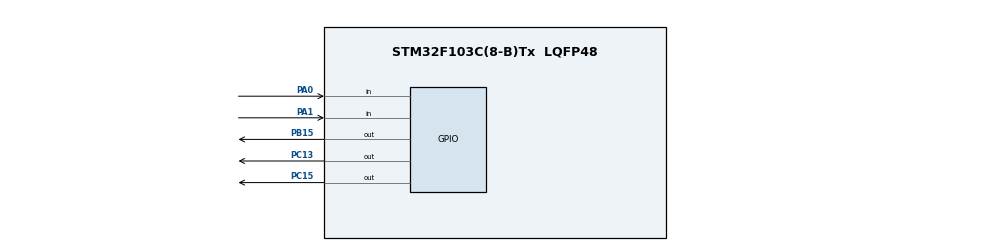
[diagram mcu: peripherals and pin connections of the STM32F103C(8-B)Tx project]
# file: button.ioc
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Mcu.Family=STM32F1
Mcu.Name=STM32F103C(8-B)Tx
Mcu.Package=LQFP48
NVIC.PriorityGroup=NVIC_PRIORITYGROUP_4
PA0-WKUP.GPIO_PuPd=GPIO_PULLUP
PA0-WKUP.Signal=GPIO_Input
PA1.GPIO_PuPd=GPIO_PULLUP
PA1.Signal=GPIO_Input
PA13.Mode=Serial_Wire
PA13.Signal=SYS_JTMS-SWDIO
PA14.Mode=Serial_Wire
PA14.Signal=SYS_JTCK-SWCLK
PB15.Signal=GPIO_Output
PC13-TAMPER-RTC.PinState=GPIO_PIN_SET
PC13-TAMPER-RTC.Signal=GPIO_Output
PC15-OSC32_OUT.Signal=GPIO_Output
PD0-OSC_IN.Mode=HSE-External-Oscillator
PD0-OSC_IN.Signal=RCC_OSC_IN
PD1-OSC_OUT.Mode=HSE-External-Oscillator
PD1-OSC_OUT.Signal=RCC_OSC_OUT
ProjectManager.HeapSize=0x200
ProjectManager.StackSize=0x400
ProjectManager.TargetToolchain=Makefile
RCC.APB1Freq_Value=8000000
RCC.APB2Freq_Value=8000000
board=custom

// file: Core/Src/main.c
/* USER CODE BEGIN Header */
/**
  ******************************************************************************
  * @file           : main.c
  * @brief          : Main program body
  ******************************************************************************
  * @attention
  *
  * Copyright (c) 2023 STMicroelectronics.
  * All rights reserved.
  *
  * This software is licensed under terms that can be found in the LICENSE file
  * in the root directory of this software component.
  * If no LICENSE file comes with this software, it is provided AS-IS.
  *
  ******************************************************************************
  */
/* USER CODE END Header */
#include "main.h"
#include "Button.h"

/* USER CODE BEGIN PD */
Button_Typdef button1;
Button_Typdef button2;
/* USER CODE END PD */

void SystemClock_Config(void);
static void MX_GPIO_Init(void);
/* USER CODE BEGIN PFP */
volatile uint32_t time_led1=0;
volatile uint32_t time_led2=0;
volatile uint32_t set_time_led1=200;
volatile uint32_t set_time_led2=500;
volatile uint8_t count_blink=0;

/* USER CODE END PFP */

/* USER CODE BEGIN 0 */

void btn_pressing_callback(Button_Typdef *ButtonX)
{
  if(ButtonX == &button1)
  {
    set_time_led1=500;
    set_time_led2=200;
  }
  if(ButtonX == &button2)
  {
    set_time_led1=100;
    set_time_led2=100;
  }
}
void btn_press_timeout_callback(Button_Typdef *ButtonX)
{
  if(ButtonX == &button2)
  {
    set_time_led1=1000;
    set_time_led2=1000;
  }
}
/* USER CODE END 0 */

int main(void)
{

  /* MCU Configuration--------------------------------------------------------*/

  /* Reset of all peripherals, Initializes the Flash interface and the Systick. */
  HAL_Init();

  /* Configure the system clock */
  SystemClock_Config();

  /* Initialize all configured peripherals */
  MX_GPIO_Init();
  /* USER CODE BEGIN 2 */
  button_init(&button1,GPIOA,GPIO_PIN_1);
  button_init(&button2,GPIOA,GPIO_PIN_0);
  /* USER CODE END 2 */

  /* Infinite loop */
  while (1)
  {

    /* USER CODE BEGIN 3 */
    button_handle(&button1);
    button_handle(&button2);

    if(HAL_GetTick()-time_led1 >= set_time_led1)
    {
      HAL_GPIO_TogglePin(GPIOC,GPIO_PIN_15);
      time_led1=HAL_GetTick();
    }
    if(HAL_GetTick()-time_led2 >= set_time_led2)
    {
      HAL_GPIO_TogglePin(GPIOB,GPIO_PIN_15);
      time_led2=HAL_GetTick();
    }
    // HAL_GPIO_TogglePin(GPIOC,GPIO_PIN_15);
    // HAL_Delay(500);
  }
  /* USER CODE END 3 */
}

void SystemClock_Config(void)
{
  RCC_OscInitTypeDef RCC_OscInitStruct = {0};
  RCC_ClkInitTypeDef RCC_ClkInitStruct = {0};

  /** Initializes the RCC Oscillators according to the specified parameters
  * in the RCC_OscInitTypeDef structure.
  */
  RCC_OscInitStruct.OscillatorType = RCC_OSCILLATORTYPE_HSI;
  RCC_OscInitStruct.HSIState = RCC_HSI_ON;
  RCC_OscInitStruct.HSICalibrationValue = RCC_HSICALIBRATION_DEFAULT;
  RCC_OscInitStruct.PLL.PLLState = RCC_PLL_NONE;
  if (HAL_RCC_OscConfig(&RCC_OscInitStruct) != HAL_OK)
  {
    Error_Handler();
  }

  /** Initializes the CPU, AHB and APB buses clocks
  */
  RCC_ClkInitStruct.ClockType = RCC_CLOCKTYPE_HCLK|RCC_CLOCKTYPE_SYSCLK
                              |RCC_CLOCKTYPE_PCLK1|RCC_CLOCKTYPE_PCLK2;
  RCC_ClkInitStruct.SYSCLKSource = RCC_SYSCLKSOURCE_HSI;
  RCC_ClkInitStruct.AHBCLKDivider = RCC_SYSCLK_DIV1;
  RCC_ClkInitStruct.APB1CLKDivider = RCC_HCLK_DIV1;
  RCC_ClkInitStruct.APB2CLKDivider = RCC_HCLK_DIV1;

  if (HAL_RCC_ClockConfig(&RCC_ClkInitStruct, FLASH_LATENCY_0) != HAL_OK)
  {
    Error_Handler();
  }
}

static void MX_GPIO_Init(void)
{
  GPIO_InitTypeDef GPIO_InitStruct = {0};

  /* GPIO Ports Clock Enable */
  __HAL_RCC_GPIOC_CLK_ENABLE();
  __HAL_RCC_GPIOD_CLK_ENABLE();
  __HAL_RCC_GPIOA_CLK_ENABLE();
  __HAL_RCC_GPIOB_CLK_ENABLE();

  /*Configure GPIO pin Output Level */
  HAL_GPIO_WritePin(GPIOC, GPIO_PIN_13, GPIO_PIN_SET);

  /*Configure GPIO pin Output Level */
  HAL_GPIO_WritePin(GPIOC, GPIO_PIN_15, GPIO_PIN_RESET);

  /*Configure GPIO pin Output Level */
  HAL_GPIO_WritePin(GPIOB, GPIO_PIN_15, GPIO_PIN_RESET);

  /*Configure GPIO pins : PC13 PC15 */
  GPIO_InitStruct.Pin = GPIO_PIN_13|GPIO_PIN_15;
  GPIO_InitStruct.Mode = GPIO_MODE_OUTPUT_PP;
  GPIO_InitStruct.Pull = GPIO_NOPULL;
  GPIO_InitStruct.Speed = GPIO_SPEED_FREQ_LOW;
  HAL_GPIO_Init(GPIOC, &GPIO_InitStruct);

  /*Configure GPIO pins : PA0 PA1 */
  GPIO_InitStruct.Pin = GPIO_PIN_0|GPIO_PIN_1;
  GPIO_InitStruct.Mode = GPIO_MODE_INPUT;
  GPIO_InitStruct.Pull = GPIO_PULLUP;
  HAL_GPIO_Init(GPIOA, &GPIO_InitStruct);

  /*Configure GPIO pin : PB15 */
  GPIO_InitStruct.Pin = GPIO_PIN_15;
  GPIO_InitStruct.Mode = GPIO_MODE_OUTPUT_PP;
  GPIO_InitStruct.Pull = GPIO_NOPULL;
  GPIO_InitStruct.Speed = GPIO_SPEED_FREQ_LOW;
  HAL_GPIO_Init(GPIOB, &GPIO_InitStruct);

}

void Error_Handler(void)
{
  __disable_irq();
  while (1)
  {
  }
}
